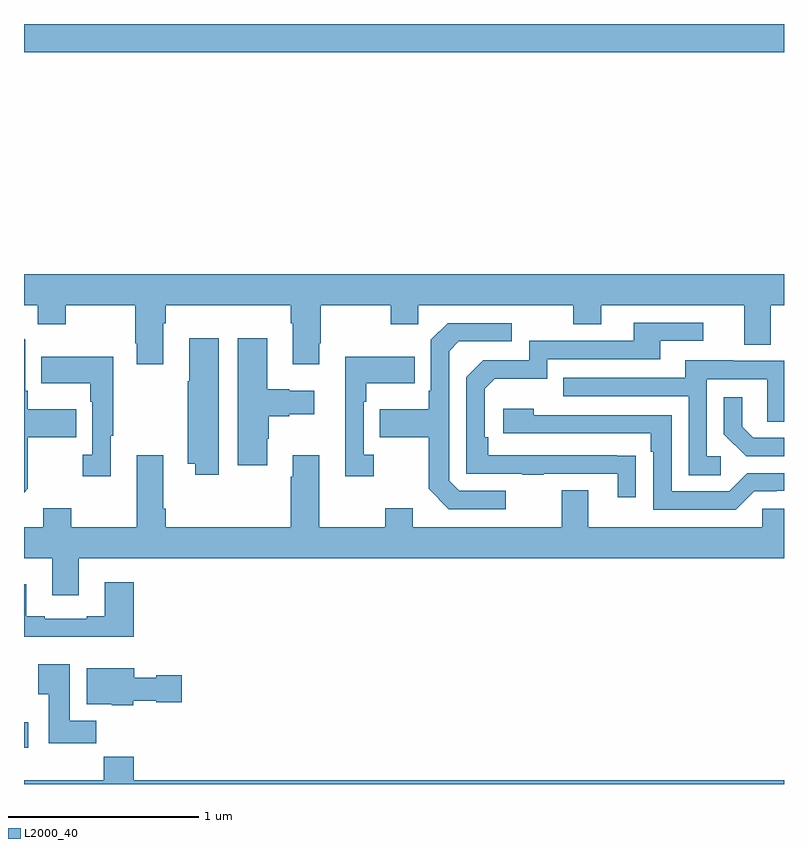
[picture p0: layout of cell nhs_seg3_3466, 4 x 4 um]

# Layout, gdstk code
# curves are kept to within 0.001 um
import gdstk
lib = gdstk.Library(unit=1e-6, precision=1e-09)
def R(c, l, rs):  # rectangles x0, y0, x1, y1
    for r in rs: c.add(gdstk.rectangle(r[:2], r[2:], *l))
def P(c, l, *ps):  # polygons
    for p in ps: c.add(gdstk.Polygon(p, *l))
L2000_40 = (2000, 40)

nhs_seg3_3466 = lib.new_cell('nhs_seg3_3466')
R(nhs_seg3_3466, L2000_40, [(291,694.592,291.022,694.726), (291,698.252,295,698.4)])
P(nhs_seg3_3466, L2000_40, [(291.733,696.824),(291.746,696.824),(291.746,696.92),(292.403,696.92),(292.403,696.824),(292.415,696.824),(292.415,696.609),(292.555,696.609),(292.555,696.721),(292.563,696.721),(292.563,696.92),(292.93,696.92),(292.93,696.821),(293.076,696.821),(293.076,696.92),(293.89,696.92),(293.89,696.821),(294.037,696.821),(294.037,696.92),(294.791,696.92),(294.791,696.712),(294.931,696.712),(294.931,696.92),(295,696.92),(295,697.084),(291,697.084),(291,696.92),(291.072,696.92),(291.072,696.821),(291.219,696.821),(291.219,696.92),(291.586,696.92),(291.586,696.721),(291.593,696.721),(291.593,696.609),(291.733,696.609)],
  [(294.221,696.128),(293.444,696.129),(293.444,696.226),(293.424,696.226),(293.424,696.48),(293.477,696.533),(293.754,696.533),(293.754,696.636),(294.349,696.636),(294.349,696.732),(294.574,696.732),(294.574,696.828),(294.209,696.828),(294.209,696.732),(293.658,696.732),(293.658,696.63),(293.418,696.63),(293.328,696.54),(293.328,696.033),(293.623,696.033),(293.623,696.028),(293.735,696.028),(293.735,696.033),(294.125,696.033),(294.125,695.91),(294.221,695.91)],
  [(293.536,695.943),(293.292,695.943),(293.238,695.997),(293.238,696.678),(293.289,696.729),(293.566,696.729),(293.566,696.825),(293.229,696.825),(293.142,696.738),(293.142,696.469),(293.13,696.469),(293.13,696.373),(292.873,696.373),(292.873,696.226),(293.13,696.226),(293.13,695.953),(293.235,695.847),(293.536,695.847)],
  [(292.024,696.745),(291.869,696.745),(291.869,696.521),(291.862,696.521),(291.862,696.086),(291.902,696.086),(291.902,696.027),(292.024,696.027)],
  [(292.279,696.217),(292.287,696.217),(292.287,696.335),(292.395,696.335),(292.395,696.347),(292.528,696.347),(292.528,696.469),(292.395,696.469),(292.395,696.477),(292.279,696.477),(292.279,696.745),(292.124,696.745),(292.124,696.078),(292.279,696.078)],
  [(291.019,695.953),(291.019,696.226),(291.275,696.226),(291.275,696.373),(291.019,696.373),(291.019,696.469),(291.006,696.469),(291.006,696.738),(291,696.744),(291,695.934)],
  [(291.457,696.233),(291.469,696.233),(291.469,696.649),(291.091,696.649),(291.091,696.509),(291.348,696.509),(291.348,696.413),(291.36,696.413),(291.36,696.134),(291.309,696.134),(291.309,696.021),(291.457,696.021)],
  [(292.84,696.134),(292.788,696.134),(292.788,696.413),(292.801,696.413),(292.801,696.509),(293.057,696.509),(293.057,696.649),(292.691,696.649),(292.691,696.021),(292.84,696.021)],
  [(294.667,696.126),(294.594,696.126),(294.594,696.531),(294.912,696.531),(294.912,696.307),(295,696.307),(295,696.627),(294.733,696.627),(294.733,696.631),(294.479,696.631),(294.479,696.537),(293.839,696.537),(293.839,696.441),(294.498,696.441),(294.498,696.025),(294.667,696.025)],
  [(295,696.222),(294.838,696.222),(294.781,696.279),(294.781,696.436),(294.684,696.436),(294.684,696.242),(294.8,696.126),(295,696.126)],
  [(294.843,695.94),(294.962,695.94),(294.962,695.943),(295,695.943),(295,696.036),(294.807,696.036),(294.711,695.94),(294.408,695.94),(294.408,696.342),(293.684,696.342),(293.684,696.376),(293.523,696.376),(293.523,696.246),(294.299,696.246),(294.299,696.149),(294.312,696.149),(294.312,695.844),(294.747,695.844)],
  [(291.289,695.588),(295,695.588),(295,695.85),(294.885,695.85),(294.885,695.752),(293.971,695.752),(293.971,695.947),(293.831,695.947),(293.831,695.752),(293.047,695.752),(293.047,695.851),(292.9,695.851),(292.9,695.752),(292.555,695.752),(292.555,696.13),(292.415,696.13),(292.415,696.017),(292.403,696.017),(292.403,695.752),(291.746,695.752),(291.746,695.848),(291.733,695.848),(291.733,696.13),(291.593,696.13),(291.593,695.752),(291.249,695.752),(291.249,695.851),(291.101,695.851),(291.101,695.752),(291,695.752),(291,695.588),(291.149,695.588),(291.149,695.394),(291.289,695.394)],
  [(291.578,695.461),(291.425,695.461),(291.425,695.284),(291.329,695.284),(291.329,695.271),(291.109,695.271),(291.109,695.284),(291.013,695.284),(291.013,695.452),(291,695.452),(291,695.174),(291.578,695.174)],
  [(291.38,694.732),(291.241,694.732),(291.241,695.029),(291.074,695.029),(291.074,694.873),(291.131,694.873),(291.131,694.614),(291.38,694.614)],
  [(291.576,694.838),(291.696,694.838),(291.696,694.831),(291.829,694.831),(291.829,694.973),(291.696,694.973),(291.696,694.96),(291.58,694.96),(291.58,695.008),(291.329,695.008),(291.329,694.82),(291.462,694.82),(291.462,694.814),(291.576,694.814)],
  [(295,694.42),(291.578,694.42),(291.578,694.544),(291.421,694.544),(291.421,694.42),(291,694.42),(291,694.4),(295,694.4)])

lib.write_gds('nhs_seg3_3466.gds')
